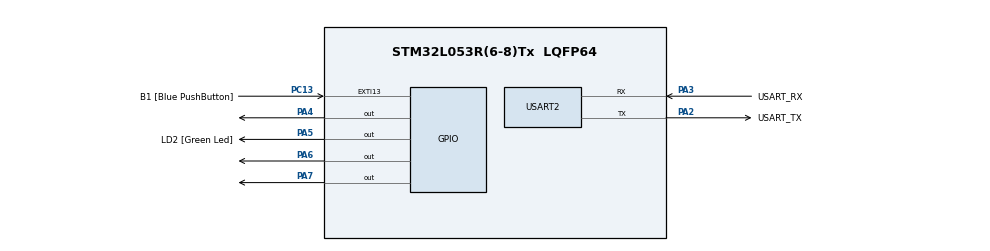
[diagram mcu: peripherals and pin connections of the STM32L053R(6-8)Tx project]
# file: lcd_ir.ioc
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Mcu.Family=STM32L0
Mcu.Name=STM32L053R(6-8)Tx
Mcu.Package=LQFP64
PA13.GPIO_Label=TMS
PA13.Mode=Serial_Wire
PA13.Signal=SYS_SWDIO
PA14.GPIO_Label=TCK
PA14.Mode=Serial_Wire
PA14.Signal=SYS_SWCLK
PA2.GPIO_Label=USART_TX
PA2.Mode=Asynchronous
PA2.Signal=USART2_TX
PA3.GPIO_Label=USART_RX
PA3.Mode=Asynchronous
PA3.Signal=USART2_RX
PA4.Signal=GPIO_Output
PA5.GPIO_Label=LD2 [Green Led]
PA5.Signal=GPIO_Output
PA6.Signal=GPIO_Output
PA7.Signal=GPIO_Output
PC13.GPIO_Label=B1 [Blue PushButton]
PC13.GPIO_ModeDefaultEXTI=GPIO_MODE_IT_FALLING
PC13.Signal=GPXTI13
PC14-OSC32_IN.Mode=LSE-External-Oscillator
PC14-OSC32_IN.Signal=RCC_OSC32_IN
PC15-OSC32_OUT.Mode=LSE-External-Oscillator
PC15-OSC32_OUT.Signal=RCC_OSC32_OUT
PH0-OSC_IN.Mode=HSE-External-Clock-Source
PH0-OSC_IN.Signal=RCC_OSC_IN
PH1-OSC_OUT.Signal=RCC_OSC_OUT
ProjectManager.HeapSize=0x200
ProjectManager.StackSize=0x400
ProjectManager.TargetToolchain=STM32CubeIDE
RCC.AHBFreq_Value=16000000
RCC.APB1Freq_Value=16000000
RCC.APB1TimFreq_Value=16000000
RCC.APB2Freq_Value=16000000
RCC.APB2TimFreq_Value=16000000
RCC.HCLKFreq_Value=16000000
RCC.HSE_VALUE=8000000
RCC.HSI16_VALUE=16000000
RCC.HSI48_VALUE=48000000
RCC.HSI_VALUE=16000000
RCC.MSI_VALUE=2097000
RCC.SYSCLKFreq_VALUE=16000000
RCC.SYSCLKSource=RCC_SYSCLKSOURCE_HSI
RCC.VCOOutputFreq_Value=48000000
USART2.VirtualMode-Asynchronous=VM_ASYNC
board=NUCLEO-L053R8

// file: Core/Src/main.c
/**
 ******************************************************************************
 * @file           : main.c
 * @brief          : Main program body
 ******************************************************************************
 * @attention
 *
 * Copyright (c) 2023 STMicroelectronics.
 * All rights reserved.
 *
 * This software is licensed under terms that can be found in the LICENSE file
 * in the root directory of this software component.
 * If no LICENSE file comes with this software, it is provided AS-IS.
 *
 ******************************************************************************
 */
/* USER CODE END Header */
#include "main.h"
#include <time.h>
#include <stdlib.h>
#include <string.h>

void SystemClock_Config(void);
static void MX_GPIO_Init(void);
static void MX_USART2_UART_Init(void);

/* USER CODE BEGIN PFP */

int val = 0;
float val_volt = 0;
char convert;

/* USER CODE END PFP */

/* USER CODE BEGIN 0 */
void ADC_init(ADC_TypeDef *adc, uint8_t resolution, uint8_t channel)
{
	// Slide 24
	RCC->APB2ENR |= (1 << 9);
	// Slide 26
	adc->CFGR2 |= (0b11 << ADC_CFGR2_CKMODE_Pos);
	// Slide 27
	if ((adc->CR & ADC_CR_ADEN) != 0)
	{
		adc->CR &= ~(uint32_t)ADC_CR_ADEN;
	}
	adc->CR |= ADC_CR_ADCAL;
	while ((adc->CR & ADC_CR_ADCAL) != 0)
		;
	// Slide 28
	adc->CFGR1 |= (1 << 13);
	// Slide 29
	adc->CFGR1 |= (0b10 << 3);
	// Slide 30
	adc->CHSELR |= (1 << channel);
	// Slide 31
	adc->CR |= (1 << 0);
	// Slide 32
	adc->CR |= (1 << 2);
}
/* USER CODE END 0 */
float convertToCentimeters(float voltage)
{
	return 27.86 / voltage - 0.42;
}

int randomDistance(const int upper, const int lower)
{
	return (rand() % (upper - lower + 1)) + lower;
}

int main(void)
{

	/* MCU Configuration--------------------------------------------------------*/

	/* Reset of all peripherals, Initializes the Flash interface and the Systick. */
	LL_APB2_GRP1_EnableClock(LL_APB2_GRP1_PERIPH_SYSCFG);
	LL_APB1_GRP1_EnableClock(LL_APB1_GRP1_PERIPH_PWR);

	/* USER CODE BEGIN Init */
	LL_APB2_GRP1_EnableClock(LL_APB2_GRP1_PERIPH_SYSCFG);
	LL_APB1_GRP1_EnableClock(LL_APB1_GRP1_PERIPH_PWR);
	/* USER CODE END Init */

	/* Configure the system clock */
	SystemClock_Config();

	/* Initialize all configured peripherals */
	MX_GPIO_Init();
	MX_USART2_UART_Init();
	/* USER CODE BEGIN 2 */
	ADC_init(ADC1, 8, 0);
	/* USER CODE END 2 */

	RCC->IOPENR |= RCC_IOPENR_GPIOAEN | RCC_IOPENR_GPIOBEN;
	LL_Init1msTick(16000);
	lcdinit4();
	char Text_LCD1[20] = "111";
	char Text_LCD2[20] = "Hello World!!";

	/* Infinite loop */
	/* USER CODE BEGIN WHILE */

	// Reset the random number generator
	srand(time(NULL));

	while (1)
	{
		/* USER CODE END WHILE */

		while ((ADC1->ISR & ADC_ISR_EOC) == 0)
			;
		val = randomDistance(10, 60);
		printf("\rValeur numerique=%d\n", val);
		sprintf(Text_LCD1, "%d", val);
		Affichage_LCD(Text_LCD1, Text_LCD2);
		val_volt = (val * 3.3) / 255;
		LL_mDelay(200);
	}
}

void SystemClock_Config(void)
{
	LL_FLASH_SetLatency(LL_FLASH_LATENCY_0);
	while (LL_FLASH_GetLatency() != LL_FLASH_LATENCY_0)
	{
	}
	LL_PWR_SetRegulVoltageScaling(LL_PWR_REGU_VOLTAGE_SCALE1);
	LL_RCC_MSI_Enable();

	/* Wait till MSI is ready */
	while (LL_RCC_MSI_IsReady() != 1)
	{
	}
	LL_RCC_MSI_SetRange(LL_RCC_MSIRANGE_5);
	LL_RCC_MSI_SetCalibTrimming(0);
	LL_RCC_SetAHBPrescaler(LL_RCC_SYSCLK_DIV_1);
	LL_RCC_SetAPB1Prescaler(LL_RCC_APB1_DIV_1);
	LL_RCC_SetAPB2Prescaler(LL_RCC_APB2_DIV_1);
	LL_RCC_SetSysClkSource(LL_RCC_SYS_CLKSOURCE_MSI);

	/* Wait till System clock is ready */
	while (LL_RCC_GetSysClkSource() != LL_RCC_SYS_CLKSOURCE_STATUS_MSI)
	{
	}

	LL_Init1msTick(2097000);

	LL_SetSystemCoreClock(2097000);
	LL_RCC_SetUSARTClockSource(LL_RCC_USART2_CLKSOURCE_PCLK1);
}

static void MX_USART2_UART_Init(void)
{

	LL_USART_InitTypeDef USART_InitStruct = {0};

	LL_GPIO_InitTypeDef GPIO_InitStruct = {0};

	/* Peripheral clock enable */
	LL_APB1_GRP1_EnableClock(LL_APB1_GRP1_PERIPH_USART2);

	LL_IOP_GRP1_EnableClock(LL_IOP_GRP1_PERIPH_GPIOA);
	/**USART2 GPIO Configuration
	PA2   ------> USART2_TX
	PA3   ------> USART2_RX
	*/
	GPIO_InitStruct.Pin = USART_TX_Pin;
	GPIO_InitStruct.Mode = LL_GPIO_MODE_ALTERNATE;
	GPIO_InitStruct.Speed = LL_GPIO_SPEED_FREQ_VERY_HIGH;
	GPIO_InitStruct.OutputType = LL_GPIO_OUTPUT_PUSHPULL;
	GPIO_InitStruct.Pull = LL_GPIO_PULL_NO;
	GPIO_InitStruct.Alternate = LL_GPIO_AF_4;
	LL_GPIO_Init(USART_TX_GPIO_Port, &GPIO_InitStruct);

	GPIO_InitStruct.Pin = USART_RX_Pin;
	GPIO_InitStruct.Mode = LL_GPIO_MODE_ALTERNATE;
	GPIO_InitStruct.Speed = LL_GPIO_SPEED_FREQ_VERY_HIGH;
	GPIO_InitStruct.OutputType = LL_GPIO_OUTPUT_PUSHPULL;
	GPIO_InitStruct.Pull = LL_GPIO_PULL_NO;
	GPIO_InitStruct.Alternate = LL_GPIO_AF_4;
	LL_GPIO_Init(USART_RX_GPIO_Port, &GPIO_InitStruct);

	USART_InitStruct.BaudRate = 115200;
	USART_InitStruct.DataWidth = LL_USART_DATAWIDTH_8B;
	USART_InitStruct.StopBits = LL_USART_STOPBITS_1;
	USART_InitStruct.Parity = LL_USART_PARITY_NONE;
	USART_InitStruct.TransferDirection = LL_USART_DIRECTION_TX_RX;
	USART_InitStruct.HardwareFlowControl = LL_USART_HWCONTROL_NONE;
	USART_InitStruct.OverSampling = LL_USART_OVERSAMPLING_16;
	LL_USART_Init(USART2, &USART_InitStruct);
	LL_USART_ConfigAsyncMode(USART2);
	LL_USART_Enable(USART2);
}

static void MX_GPIO_Init(void)
{
	LL_EXTI_InitTypeDef EXTI_InitStruct = {0};
	LL_GPIO_InitTypeDef GPIO_InitStruct = {0};

	/* GPIO Ports Clock Enable */
	LL_IOP_GRP1_EnableClock(LL_IOP_GRP1_PERIPH_GPIOC);
	LL_IOP_GRP1_EnableClock(LL_IOP_GRP1_PERIPH_GPIOH);
	LL_IOP_GRP1_EnableClock(LL_IOP_GRP1_PERIPH_GPIOA);

	/**/
	LL_GPIO_ResetOutputPin(LD2_GPIO_Port, LD2_Pin);

	/**/
	LL_SYSCFG_SetEXTISource(LL_SYSCFG_EXTI_PORTC, LL_SYSCFG_EXTI_LINE13);

	/**/
	LL_GPIO_SetPinPull(B1_GPIO_Port, B1_Pin, LL_GPIO_PULL_NO);

	/**/
	LL_GPIO_SetPinMode(B1_GPIO_Port, B1_Pin, LL_GPIO_MODE_INPUT);

	/**/
	EXTI_InitStruct.Line_0_31 = LL_EXTI_LINE_13;
	EXTI_InitStruct.LineCommand = ENABLE;
	EXTI_InitStruct.Mode = LL_EXTI_MODE_IT;
	EXTI_InitStruct.Trigger = LL_EXTI_TRIGGER_FALLING;
	LL_EXTI_Init(&EXTI_InitStruct);

	/**/
	GPIO_InitStruct.Pin = LD2_Pin;
	GPIO_InitStruct.Mode = LL_GPIO_MODE_OUTPUT;
	GPIO_InitStruct.Speed = LL_GPIO_SPEED_FREQ_LOW;
	GPIO_InitStruct.OutputType = LL_GPIO_OUTPUT_PUSHPULL;
	GPIO_InitStruct.Pull = LL_GPIO_PULL_NO;
	LL_GPIO_Init(LD2_GPIO_Port, &GPIO_InitStruct);
}

void Error_Handler(void)
{
	__disable_irq();
	while (1)
	{
	}
}
